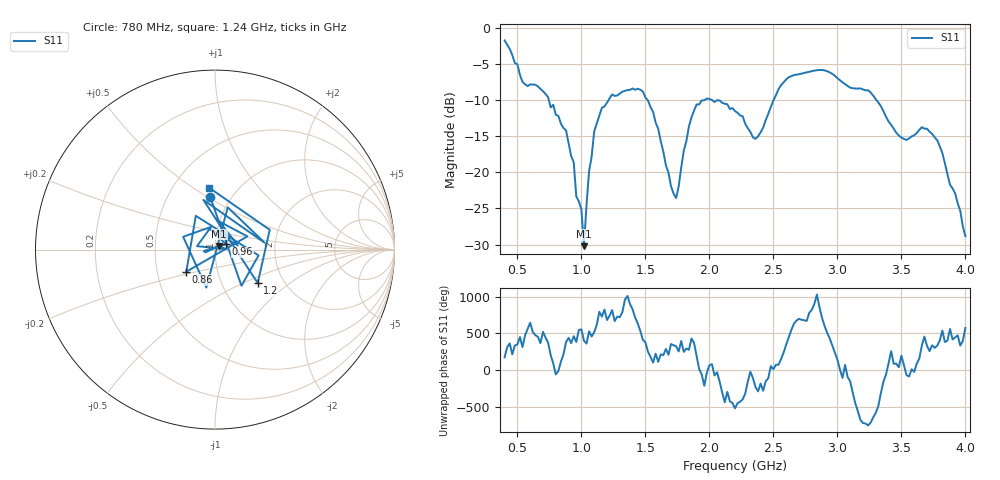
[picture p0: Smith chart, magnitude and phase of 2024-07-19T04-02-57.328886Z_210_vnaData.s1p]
!Created with skrf (http://scikit-rf.org).
# Hz S RI R 50.0
!freq ReS11 ImS11
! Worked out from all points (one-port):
!   181 points, 400 MHz to 4 GHz, reference 50 ohm
!   lowest |S11| = -30.2 dB at 1.02 GHz (marker M1), VSWR 1.06, Z = 52.3 + j2.12 ohm
!   |S11| at or under -10 dB: 745.1 MHz to 1.213 GHz (467.7 MHz wide, 47.8 % of centre); 2.018 GHz to 2.502 GHz (484.7 MHz wide, 21.4 % of centre); 3.304 GHz to end of sweep (the widest 3 of 4)
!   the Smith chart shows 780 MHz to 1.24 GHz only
!   S11 on the Smith chart (normalised r, x): 780 MHz: 0.80, +0.51; 860 MHz: 0.71, -0.18; 960 MHz: 1.13, +0.07; 1.2 GHz: 1.48, -0.61; 1.24 GHz: 0.75, +0.58
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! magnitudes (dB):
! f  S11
! 400 MHz  -1.8
! 540 MHz  -7.5
! 780 MHz  -10.7
! 860 MHz  -13.9
! 940 MHz  -18.6
! 960 MHz  -23.3
! 1 GHz  -25.1
! 1.02 GHz  -30.2
! 1.06 GHz  -19.8
! 1.1 GHz  -14.4
! 1.2 GHz  -10.4
! 1.24 GHz  -9.3
! 1.3 GHz  -9.1
! 1.48 GHz  -8.8
! 1.6 GHz  -14.0
! 1.72 GHz  -22.9
! 1.76 GHz  -22.0
! 1.84 GHz  -13.7
! 1.9 GHz  -10.6
! 2.2 GHz  -11.5
! 2.36 GHz  -15.4
! 2.66 GHz  -6.6
! 3.1 GHz  -8.3
! 3.24 GHz  -8.7
! 3.56 GHz  -15.3
! 3.66 GHz  -13.8
! 3.78 GHz  -15.6
! 4 GHz  -28.8
